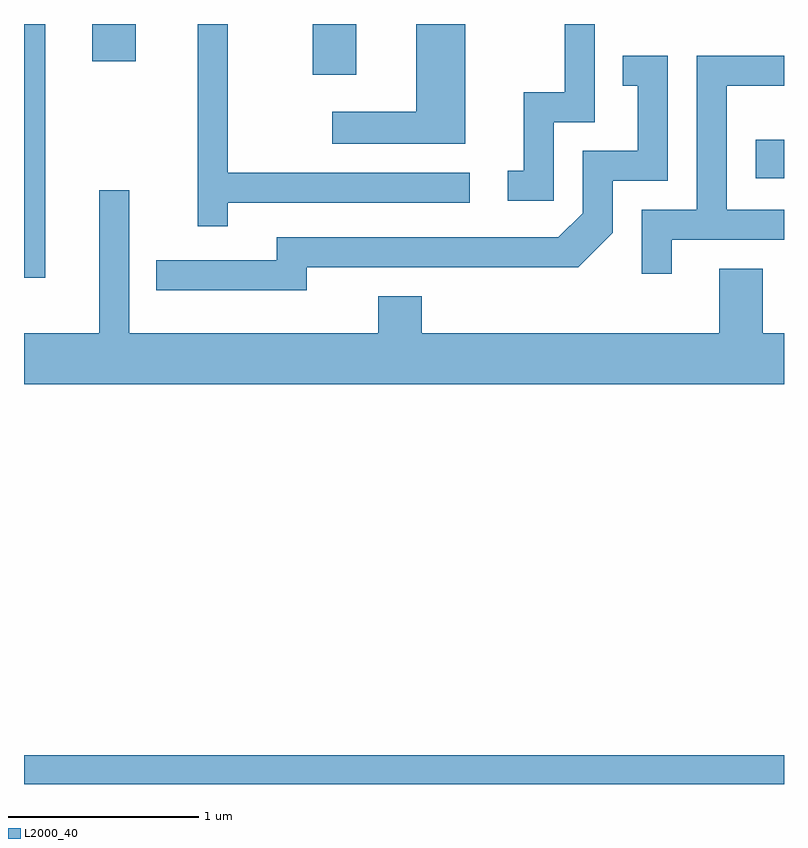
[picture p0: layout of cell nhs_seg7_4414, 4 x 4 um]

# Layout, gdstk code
import gdstk
lib = gdstk.Library(unit=1e-6, precision=1e-09)
def R(c, l, rs):  # rectangles x0, y0, x1, y1
    for r in rs: c.add(gdstk.rectangle(r[:2], r[2:], *l))
def P(c, l, *ps):  # polygons
    for p in ps: c.add(gdstk.Polygon(p, *l))
L2000_40 = (2000, 40)

nhs_seg7_4414 = lib.new_cell('nhs_seg7_4414')
R(nhs_seg7_4414, L2000_40, [(321.611,1672.252,325.611,1672.404), (321.611,1674.916,321.724,1676.252), (325.461,1675.441,325.611,1675.644), (323.131,1675.986,323.359,1676.252), (321.971,1676.056,322.199,1676.252)])
P(nhs_seg7_4414, L2000_40, [(324.399,1675.736),(324.614,1675.736),(324.614,1676.252),(324.456,1676.252),(324.456,1675.894),(324.241,1675.894),(324.241,1675.479),(324.158,1675.479),(324.158,1675.321),(324.399,1675.321)],
  [(323.934,1676.252),(323.676,1676.252),(323.676,1675.789),(323.233,1675.789),(323.233,1675.621),(323.934,1675.621)],
  [(322.684,1675.311),(323.958,1675.311),(323.958,1675.469),(322.684,1675.469),(322.684,1676.252),(322.526,1676.252),(322.526,1675.188),(322.684,1675.188)],
  [(325.019,1675.116),(325.611,1675.116),(325.611,1675.274),(325.309,1675.274),(325.309,1675.926),(325.611,1675.926),(325.611,1676.084),(325.151,1676.084),(325.151,1675.274),(324.861,1675.274),(324.861,1674.938),(325.019,1674.938)],
  [(323.099,1674.971),(324.527,1674.971),(324.709,1675.154),(324.709,1675.426),(324.999,1675.426),(324.999,1676.084),(324.763,1676.084),(324.763,1675.926),(324.841,1675.926),(324.841,1675.584),(324.551,1675.584),(324.551,1675.257),(324.424,1675.129),(322.941,1675.129),(322.941,1675.009),(322.308,1675.009),(322.308,1674.851),(323.099,1674.851)],
  [(325.611,1674.624),(325.499,1674.624),(325.499,1674.964),(325.271,1674.964),(325.271,1674.624),(323.704,1674.624),(323.704,1674.819),(323.476,1674.819),(323.476,1674.624),(322.164,1674.624),(322.164,1675.378),(322.006,1675.378),(322.006,1674.624),(321.611,1674.624),(321.611,1674.356),(325.611,1674.356)])

lib.write_gds('nhs_seg7_4414.gds')
